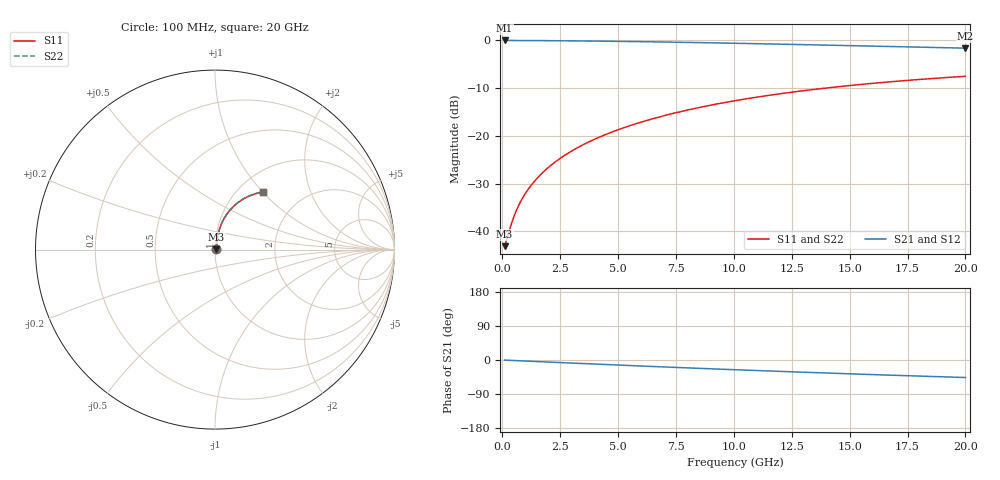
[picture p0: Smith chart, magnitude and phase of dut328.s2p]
! Touchstone file exported from HFSS 2024.1.0
!  File:  C:/UserFiles/LocalFiles/RDL_TSV_Batchsim/temp_RDL_bottom_328_1779611353.aedt
!  Generated:  04:31:49 PM May 24, 2026
!  Design:  RDL_bottom
!  Project:  temp_RDL_bottom_328_1779611353
!  Setup:  Setup1
!  Solution:  Sweep
! Variables:
!  dtsv = 10.80580581um
!  hbump = 3um
!  htsv = 77.25um
!  ldown = 663.25um
!  lrdl = 100um
!  p = 40
!  p1 = 42.19um
!  rhole = 1um
!  t = 450um
!  tdown = 2.03um
!  trdl = 3.915915916um
!  wdown = 18.35um
!  wrdl = 20um
# GHz S MA R 50.000000
! Terminal data exported
! Port[1] = RDL1_T1
! Port[2] = RDL1_T2
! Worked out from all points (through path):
!   200 points, 100 MHz to 20 GHz, reference 50 ohm
!   highest |S21| = -0.06 dB at 100 MHz (marker M1); lowest = -1.7 dB at 20 GHz (marker M2)
!   group delay of S21, straight-line fit = 6.42 ps
!   lowest |S11| = -43.1 dB at 100 MHz (marker M3), VSWR 1.01, Z = 50.7 + j0.256 ohm
!   |S11| at or under -10 dB: start of sweep to 14 GHz
!   |S22| runs from -43.1 to -7.5 dB; largest |S21 - S12| = 3.3e-15
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0.1  0.007005 21.1  0.9935 -0.3  0.9935 -0.3  0.007005 21.1
! Gamma 0 0 0 0
! Port Impedance 50 0 50 0
0.4  0.01214 54.5  0.9929 -1.1  0.9929 -1.1  0.01214 54.5
0.5  0.01424 59.2  0.9927 -1.4  0.9927 -1.4  0.01424 59.2
0.6  0.01639 62.6  0.9924 -1.7  0.9924 -1.7  0.01639 62.6
0.7  0.01854 65.2  0.9921 -2.0  0.9921 -2.0  0.01854 65.2
0.9  0.02286 68.8  0.9916 -2.5  0.9916 -2.5  0.02286 68.8
1.2  0.02935 72.3  0.9907 -3.3  0.9907 -3.3  0.02935 72.3
1.4  0.0337 73.8  0.9902 -3.9  0.9902 -3.9  0.0337 73.8
1.7  0.04028 75.5  0.9893 -4.7  0.9893 -4.7  0.04028 75.5
2.2  0.05137 77.2  0.9876 -6.0  0.9876 -6.0  0.05138 77.2
2.8  0.06487 78.1  0.9851 -7.6  0.9851 -7.6  0.06488 78.2
3.5  0.08084 78.4  0.9817 -9.5  0.9817 -9.5  0.08085 78.5
4.2  0.097 78.2  0.9777 -11.3  0.9777 -11.3  0.09702 78.3
5  0.1156 77.6  0.9725 -13.4  0.9725 -13.4  0.1157 77.7
5.9  0.1367 76.6  0.9659 -15.7  0.9659 -15.7  0.1368 76.6
6.8  0.1579 75.2  0.9586 -17.9  0.9586 -17.9  0.1579 75.3
8.4  0.1952 72.5  0.9445 -21.8  0.9445 -21.8  0.1953 72.6
10.1  0.2339 69.3  0.9282 -25.8  0.9282 -25.8  0.2341 69.3
11.7  0.2689 66.1  0.912 -29.4  0.912 -29.4  0.2691 66.2
13.4  0.3042 62.7  0.8943 -33.1  0.8943 -33.1  0.3045 62.7
16.7  0.3662 56.1  0.8595 -39.9  0.8595 -39.9  0.3666 56.2
20  0.4192 49.9  0.8254 -46.3  0.8254 -46.3  0.4197 50.0
